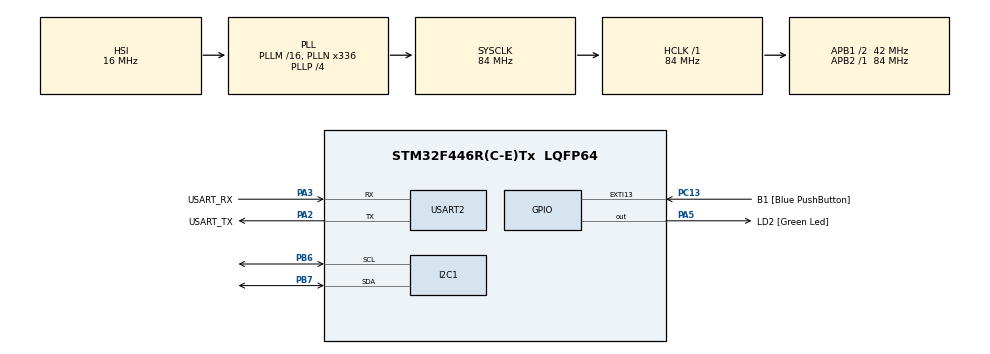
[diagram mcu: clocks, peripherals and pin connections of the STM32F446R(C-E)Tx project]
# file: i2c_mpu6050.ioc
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I2C1.I2C_Mode=I2C_Fast
Mcu.Family=STM32F4
Mcu.Name=STM32F446R(C-E)Tx
Mcu.Package=LQFP64
NVIC.PriorityGroup=NVIC_PRIORITYGROUP_0
PA13.GPIO_Label=TMS
PA13.Mode=Serial_Wire
PA13.Signal=SYS_JTMS-SWDIO
PA14.GPIO_Label=TCK
PA14.Mode=Serial_Wire
PA14.Signal=SYS_JTCK-SWCLK
PA2.GPIO_Label=USART_TX
PA2.Mode=Asynchronous
PA2.Signal=USART2_TX
PA3.GPIO_Label=USART_RX
PA3.Mode=Asynchronous
PA3.Signal=USART2_RX
PA5.GPIO_Label=LD2 [Green Led]
PA5.Signal=GPIO_Output
PB3.GPIO_Label=SWO
PB3.Signal=SYS_JTDO-SWO
PB6.GPIO_Pu=GPIO_PULLUP
PB6.Mode=I2C
PB6.Signal=I2C1_SCL
PB7.GPIO_Pu=GPIO_PULLUP
PB7.Mode=I2C
PB7.Signal=I2C1_SDA
PC13.GPIO_Label=B1 [Blue PushButton]
PC13.GPIO_ModeDefaultEXTI=GPIO_MODE_IT_FALLING
PC13.Signal=GPXTI13
PC14-OSC32_IN.Mode=LSE-External-Oscillator
PC14-OSC32_IN.Signal=RCC_OSC32_IN
PC15-OSC32_OUT.Mode=LSE-External-Oscillator
PC15-OSC32_OUT.Signal=RCC_OSC32_OUT
PH0-OSC_IN.Mode=HSE-External-Oscillator
PH0-OSC_IN.Signal=RCC_OSC_IN
PH1-OSC_OUT.Mode=HSE-External-Oscillator
PH1-OSC_OUT.Signal=RCC_OSC_OUT
ProjectManager.HeapSize=0x200
ProjectManager.StackSize=0x400
ProjectManager.TargetToolchain=STM32CubeIDE
RCC.48MHZClocksFreq_Value=84000000
RCC.AHBFreq_Value=84000000
RCC.APB1CLKDivider=RCC_HCLK_DIV2
RCC.APB1Freq_Value=42000000
RCC.APB1TimFreq_Value=84000000
RCC.APB2Freq_Value=84000000
RCC.APB2TimFreq_Value=84000000
RCC.CortexFreq_Value=84000000
RCC.FLatency-AdvancedSettings=FLASH_LATENCY_2
RCC.HCLKFreq_Value=84000000
RCC.HSE_VALUE=8000000
RCC.HSI_VALUE=16000000
RCC.PLLN=336
RCC.PLLP=RCC_PLLP_DIV4
RCC.SYSCLKFreq_VALUE=84000000
RCC.SYSCLKSource=RCC_SYSCLKSOURCE_PLLCLK
RCC.USBFreq_Value=168000000
RCC.VCOOutputFreq_Value=336000000
USART2.VirtualMode=VM_ASYNC
board=NUCLEO-F446RE

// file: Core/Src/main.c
/* USER CODE BEGIN Header */
/**
  ******************************************************************************
  * @file           : main.c
  * @brief          : Main program body
  ******************************************************************************
  * @attention
  *
  * Copyright (c) 2024 STMicroelectronics.
  * All rights reserved.
  *
  * This software is licensed under terms that can be found in the LICENSE file
  * in the root directory of this software component.
  * If no LICENSE file comes with this software, it is provided AS-IS.
  *
  ******************************************************************************
  */
/* USER CODE END Header */
#include "main.h"

/* USER CODE BEGIN Includes */
#include <stdio.h>
/* USER CODE END Includes */

I2C_HandleTypeDef hi2c1;

UART_HandleTypeDef huart2;

void SystemClock_Config(void);
static void MX_GPIO_Init(void);
static void MX_USART2_UART_Init(void);
static void MX_I2C1_Init(void);

int main(void)
{

  /* MCU Configuration--------------------------------------------------------*/

  /* Reset of all peripherals, Initializes the Flash interface and the Systick. */
  HAL_Init();

  /* Configure the system clock */
  SystemClock_Config();

  /* Initialize all configured peripherals */
  MX_GPIO_Init();
  MX_USART2_UART_Init();
  MX_I2C1_Init();
  /* USER CODE BEGIN 2 */
  uint8_t i2cData[6];
  int16_t i_gyro[3];
  uint8_t log[40];
  int len;

  // Initialize
  i2cData[0] = 0x19;  // register starts at 0x19
  i2cData[1] = 7;     // Set the sample rate to 1000Hz - 8kHz/(7+1) = 1000Hz
  i2cData[2] = 0x00;  // Disable FSYNC and set 260 Hz Acc filtering, 256 Hz Gyro filtering, 8 KHz sampling
  i2cData[3] = 0x00;  // Set Gyro Full Scale Range to ±250deg/s
  i2cData[4] = 0x00;  // Set Accelerometer Full Scale Range to ±2g
  HAL_I2C_Master_Transmit(&hi2c1, (0x68<<1), i2cData, 5, 6000); // Sending in Blocking mode

  i2cData[0] = 0x6B; // register starts at 0x6B
  i2cData[1] = 0x01; // PLL with X axis gyroscope reference and disable sleep mode
  HAL_I2C_Master_Transmit(&hi2c1, (0x68<<1), i2cData, 2, 6000); // Sending in Blocking mode
  /* USER CODE END 2 */

  /* Infinite loop */
  /* USER CODE BEGIN WHILE */
  while (1)
  {
	  i2cData[0] = 0x43; // register starts at 0x43
	  HAL_I2C_Master_Transmit(&hi2c1, (0x68<<1), i2cData, 1, 6000); // Sending in Blocking mode
	  HAL_I2C_Master_Receive(&hi2c1, (0x68<<1), i2cData, 6, 6000); // Sending in Blocking mode
	  HAL_Delay(1);
	  i_gyro[0] = (i2cData[0] << 8) | i2cData[1];
	  i_gyro[1] = (i2cData[2] << 8) | i2cData[3];
	  i_gyro[2] = (i2cData[4] << 8) | i2cData[5];

	  len = snprintf((char *)log, sizeof(log),
					"omega = %d, %d, %d \r\n",
				i_gyro[0], i_gyro[1], i_gyro[2]);
	  HAL_UART_Transmit(&huart2, log, len, 10);
	  HAL_Delay(100);
    /* USER CODE END WHILE */

  }
}

void SystemClock_Config(void)
{
  RCC_OscInitTypeDef RCC_OscInitStruct = {0};
  RCC_ClkInitTypeDef RCC_ClkInitStruct = {0};

  /** Configure the main internal regulator output voltage
  */
  __HAL_RCC_PWR_CLK_ENABLE();
  __HAL_PWR_VOLTAGESCALING_CONFIG(PWR_REGULATOR_VOLTAGE_SCALE3);

  /** Initializes the RCC Oscillators according to the specified parameters
  * in the RCC_OscInitTypeDef structure.
  */
  RCC_OscInitStruct.OscillatorType = RCC_OSCILLATORTYPE_HSI;
  RCC_OscInitStruct.HSIState = RCC_HSI_ON;
  RCC_OscInitStruct.HSICalibrationValue = RCC_HSICALIBRATION_DEFAULT;
  RCC_OscInitStruct.PLL.PLLState = RCC_PLL_ON;
  RCC_OscInitStruct.PLL.PLLSource = RCC_PLLSOURCE_HSI;
  RCC_OscInitStruct.PLL.PLLM = 16;
  RCC_OscInitStruct.PLL.PLLN = 336;
  RCC_OscInitStruct.PLL.PLLP = RCC_PLLP_DIV4;
  RCC_OscInitStruct.PLL.PLLQ = 2;
  RCC_OscInitStruct.PLL.PLLR = 2;
  if (HAL_RCC_OscConfig(&RCC_OscInitStruct) != HAL_OK)
  {
    Error_Handler();
  }

  /** Initializes the CPU, AHB and APB buses clocks
  */
  RCC_ClkInitStruct.ClockType = RCC_CLOCKTYPE_HCLK|RCC_CLOCKTYPE_SYSCLK
                              |RCC_CLOCKTYPE_PCLK1|RCC_CLOCKTYPE_PCLK2;
  RCC_ClkInitStruct.SYSCLKSource = RCC_SYSCLKSOURCE_PLLCLK;
  RCC_ClkInitStruct.AHBCLKDivider = RCC_SYSCLK_DIV1;
  RCC_ClkInitStruct.APB1CLKDivider = RCC_HCLK_DIV2;
  RCC_ClkInitStruct.APB2CLKDivider = RCC_HCLK_DIV1;

  if (HAL_RCC_ClockConfig(&RCC_ClkInitStruct, FLASH_LATENCY_2) != HAL_OK)
  {
    Error_Handler();
  }
}

static void MX_I2C1_Init(void)
{

  hi2c1.Instance = I2C1;
  hi2c1.Init.ClockSpeed = 400000;
  hi2c1.Init.DutyCycle = I2C_DUTYCYCLE_2;
  hi2c1.Init.OwnAddress1 = 0;
  hi2c1.Init.AddressingMode = I2C_ADDRESSINGMODE_7BIT;
  hi2c1.Init.DualAddressMode = I2C_DUALADDRESS_DISABLE;
  hi2c1.Init.OwnAddress2 = 0;
  hi2c1.Init.GeneralCallMode = I2C_GENERALCALL_DISABLE;
  hi2c1.Init.NoStretchMode = I2C_NOSTRETCH_DISABLE;
  if (HAL_I2C_Init(&hi2c1) != HAL_OK)
  {
    Error_Handler();
  }

}

static void MX_USART2_UART_Init(void)
{

  huart2.Instance = USART2;
  huart2.Init.BaudRate = 115200;
  huart2.Init.WordLength = UART_WORDLENGTH_8B;
  huart2.Init.StopBits = UART_STOPBITS_1;
  huart2.Init.Parity = UART_PARITY_NONE;
  huart2.Init.Mode = UART_MODE_TX_RX;
  huart2.Init.HwFlowCtl = UART_HWCONTROL_NONE;
  huart2.Init.OverSampling = UART_OVERSAMPLING_16;
  if (HAL_UART_Init(&huart2) != HAL_OK)
  {
    Error_Handler();
  }

}

static void MX_GPIO_Init(void)
{
  GPIO_InitTypeDef GPIO_InitStruct = {0};

  /* GPIO Ports Clock Enable */
  __HAL_RCC_GPIOC_CLK_ENABLE();
  __HAL_RCC_GPIOH_CLK_ENABLE();
  __HAL_RCC_GPIOA_CLK_ENABLE();
  __HAL_RCC_GPIOB_CLK_ENABLE();

  /*Configure GPIO pin Output Level */
  HAL_GPIO_WritePin(LD2_GPIO_Port, LD2_Pin, GPIO_PIN_RESET);

  /*Configure GPIO pin : B1_Pin */
  GPIO_InitStruct.Pin = B1_Pin;
  GPIO_InitStruct.Mode = GPIO_MODE_IT_FALLING;
  GPIO_InitStruct.Pull = GPIO_NOPULL;
  HAL_GPIO_Init(B1_GPIO_Port, &GPIO_InitStruct);

  /*Configure GPIO pin : LD2_Pin */
  GPIO_InitStruct.Pin = LD2_Pin;
  GPIO_InitStruct.Mode = GPIO_MODE_OUTPUT_PP;
  GPIO_InitStruct.Pull = GPIO_NOPULL;
  GPIO_InitStruct.Speed = GPIO_SPEED_FREQ_LOW;
  HAL_GPIO_Init(LD2_GPIO_Port, &GPIO_InitStruct);

}

void Error_Handler(void)
{
  __disable_irq();
  while (1)
  {
  }
}
